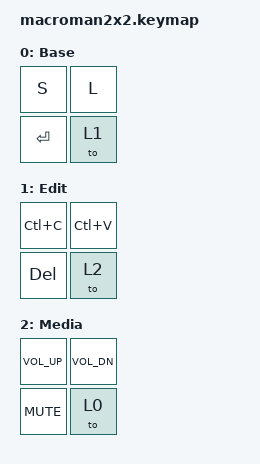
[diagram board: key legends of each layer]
/*
 * SPDX-License-Identifier: MIT
 *
 * Ordine delle posizioni (vedi macroman2x2.overlay):
 *   pos 0 = D9   pos 1 = D6
 *   pos 2 = D1   pos 3 = D3 (tasto funzione)
 *
 * Il tasto funzione usa &to: passa al layer indicato e disattiva gli altri,
 * quindi le pressioni successive ciclano 0 -> 1 -> 2 -> 0.
 */

#include <behaviors.dtsi>
#include <dt-bindings/zmk/keys.h>

/ {
    keymap {
        compatible = "zmk,keymap";

        base_layer {
            display-name = "Base";
            // ------------------------
            // |    S     |     L     |
            // |  INVIO   |    Fn ->  |
            bindings = <
                &kp S      &kp L
                &kp ENTER  &to 1
            >;
        };

        edit_layer {
            display-name = "Edit";
            // ------------------------
            // |  CTRL+C  |  CTRL+V   |
            // |   CANC   |    Fn ->  |
            bindings = <
                &kp LC(C)  &kp LC(V)
                &kp DEL    &to 2
            >;
        };

        media_layer {
            display-name = "Media";
            // ------------------------
            // |  VOL +   |   VOL -   |
            // |   MUTO   |    Fn ->  |
            bindings = <
                &kp C_VOL_UP  &kp C_VOL_DN
                &kp C_MUTE    &to 0
            >;
        };

        /*
         * Layer vuoti "di scorta": ignorati dal firmware normale
         * (ZMK_KEYMAP_LAYERS_LEN usa DT_FOREACH_CHILD_STATUS_OKAY),
         * disponibili e rinominabili in ZMK Studio (che invece conta
         * tutti i figli del nodo keymap).
         */
        extra1 {
            status = "reserved";
        };

        extra2 {
            status = "reserved";
        };

        extra3 {
            status = "reserved";
        };
    };
};
